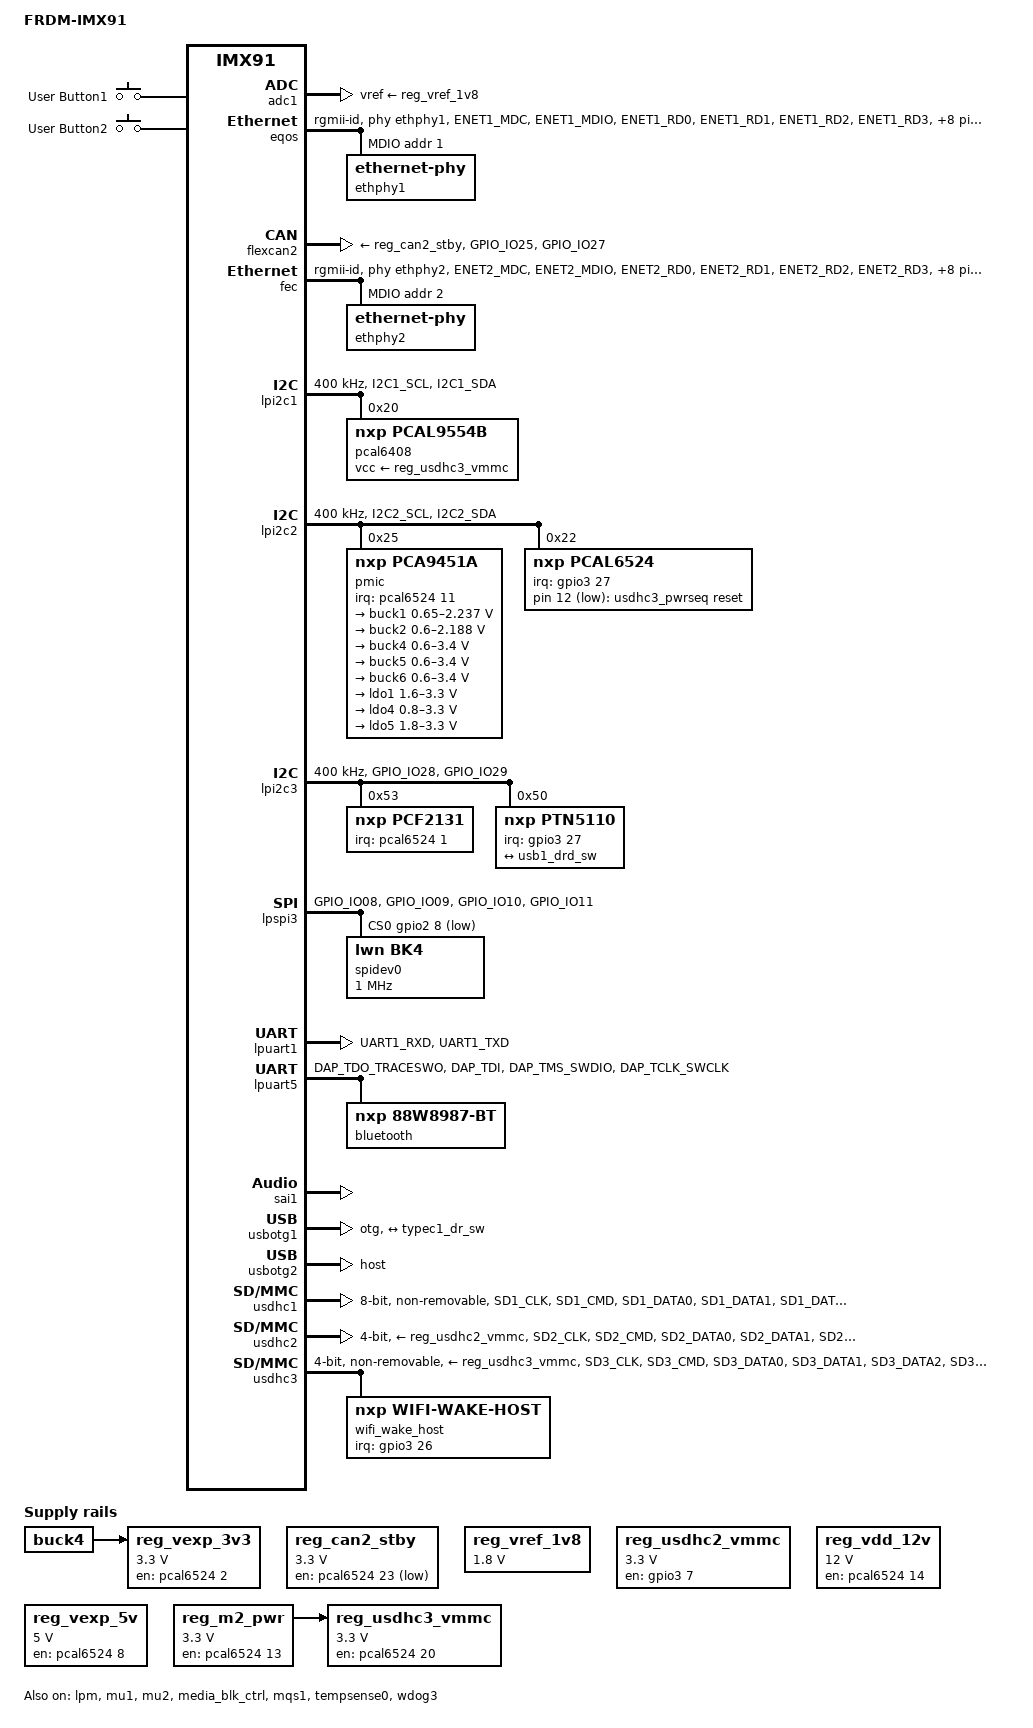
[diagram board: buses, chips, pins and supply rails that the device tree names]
// SPDX-License-Identifier: (GPL-2.0+ OR MIT)
/*
 * Copyright 2025 NXP
 */

/dts-v1/;

#include <dt-bindings/usb/pd.h>
#include "imx91.dtsi"

&ele_fw2 {
	memory-region = <&ele_reserved>;
};

/ {
	model = "FRDM-IMX91";
	compatible = "fsl,frdm-imx91", "fsl,imx91";

	chosen {
		stdout-path = &lpuart1;
	};

	reserved-memory {
		#address-cells = <2>;
		#size-cells = <2>;
		ranges;

		linux,cma {
			compatible = "shared-dma-pool";
			reusable;
			alloc-ranges = <0 0x80000000 0 0x30000000>;
			size = <0 0x10000000>;
			linux,cma-default;
		};

		ele_reserved: ele-reserved@a4120000 {
			compatible = "shared-dma-pool";
			reg = <0 0xa4120000 0 0x100000>;
			no-map;
		};
	};

	reg_can2_stby: regulator-can2-stby {
		compatible = "regulator-fixed";
		regulator-name = "can2-stby";
		regulator-min-microvolt = <3300000>;
		regulator-max-microvolt = <3300000>;
		gpio = <&pcal6524 23 GPIO_ACTIVE_LOW>;
		enable-active-low;
	};

	reg_vref_1v8: regulator-adc-vref {
		compatible = "regulator-fixed";
		regulator-name = "vref_1v8";
		regulator-min-microvolt = <1800000>;
		regulator-max-microvolt = <1800000>;
	};

	reg_usdhc2_vmmc: regulator-usdhc2 {
		compatible = "regulator-fixed";
		pinctrl-names = "default";
		pinctrl-0 = <&pinctrl_reg_usdhc2_vmmc>;
		regulator-name = "VSD_3V3";
		regulator-min-microvolt = <3300000>;
		regulator-max-microvolt = <3300000>;
		gpio = <&gpio3 7 GPIO_ACTIVE_HIGH>;
		off-on-delay-us = <12000>;
		enable-active-high;
	};

	reg_vdd_12v: regulator-vdd-12v {
		compatible = "regulator-fixed";
		regulator-name = "reg_vdd_12v";
		regulator-min-microvolt = <12000000>;
		regulator-max-microvolt = <12000000>;
		gpio = <&pcal6524 14 GPIO_ACTIVE_HIGH>;
		enable-active-high;
	};

	reg_vexp_3v3: regulator-vexp-3v3 {
		compatible = "regulator-fixed";
		regulator-name = "VEXP_3V3";
		gpio = <&pcal6524 2 GPIO_ACTIVE_HIGH>;
		regulator-min-microvolt = <3300000>;
		regulator-max-microvolt = <3300000>;
		enable-active-high;
		vin-supply = <&buck4>;
	};

	reg_vexp_5v: regulator-vexp-5v {
		compatible = "regulator-fixed";
		regulator-name = "VEXP_5V";
		gpio = <&pcal6524 8 GPIO_ACTIVE_HIGH>;
		regulator-min-microvolt = <5000000>;
		regulator-max-microvolt = <5000000>;
		enable-active-high;
	};

	reg_m2_pwr: regulator-m2-pwr {
		compatible = "regulator-fixed";
		regulator-name = "M.2-power";
		regulator-min-microvolt = <3300000>;
		regulator-max-microvolt = <3300000>;
		gpio = <&pcal6524 13 GPIO_ACTIVE_HIGH>;
		enable-active-high;
	};

	reg_usdhc3_vmmc: regulator-usdhc3 {
		compatible = "regulator-fixed";
		regulator-name = "WLAN_EN";
		regulator-min-microvolt = <3300000>;
		regulator-max-microvolt = <3300000>;
		vin-supply = <&reg_m2_pwr>;
		gpio = <&pcal6524 20 GPIO_ACTIVE_HIGH>;
		/*
		 * IW612 wifi chip needs more delay than other wifi chips to complete
		 * the host interface initialization after power up, otherwise the
		 * internal state of IW612 may be unstable, resulting in the failure of
		 * the SDIO3.0 switch voltage.
		 */
		startup-delay-us = <20000>;
		enable-active-high;
	};

	sound-mqs {
		compatible = "fsl,imx6sx-sdb-mqs",
			     "fsl,imx-audio-mqs";
		model = "mqs-audio";
		audio-cpu = <&sai1>;
		audio-codec = <&mqs1>;
	};

	sw-keys {
		compatible = "gpio-keys";

		K2: user_btn1 {
			label = "User Button1";
			linux,code = <BTN_1>;
			gpio = <&pcal6524 5 GPIO_PULL_UP>;
			interrupt-parent = <&pcal6524>;
			interrupts = <5 IRQ_TYPE_EDGE_FALLING>;
		};

		K3: user_btn2 {
			label = "User Button2";
			linux,code = <BTN_2>;
			gpio = <&pcal6524 6 GPIO_PULL_UP>;
			interrupt-parent = <&pcal6524>;
			interrupts = <6 IRQ_TYPE_EDGE_FALLING>;
		};
	};

	usdhc3_pwrseq: usdhc3_pwrseq {
		compatible = "mmc-pwrseq-simple";
		reset-gpios = <&pcal6524 12 GPIO_ACTIVE_LOW>;
	};
};

&adc1 {
	vref-supply = <&reg_vref_1v8>;
	status = "okay";
};

&eqos {
	pinctrl-names = "default", "sleep";
	pinctrl-0 = <&pinctrl_eqos>;
	pinctrl-1 = <&pinctrl_eqos_sleep>;
	phy-mode = "rgmii-id";
	phy-handle = <&ethphy1>;
	status = "okay";

	mdio {
		compatible = "snps,dwmac-mdio";
		#address-cells = <1>;
		#size-cells = <0>;
		clock-frequency = <5000000>;

		ethphy1: ethernet-phy@1 {
			reg = <1>;
		};
	};
};

&flexcan2 {
	pinctrl-names = "default", "sleep";
	pinctrl-0 = <&pinctrl_flexcan2>;
	pinctrl-1 = <&pinctrl_flexcan2_sleep>;
	xceiver-supply = <&reg_can2_stby>;
	status = "okay";
};

&fec {
	pinctrl-names = "default", "sleep";
	pinctrl-0 = <&pinctrl_fec>;
	pinctrl-1 = <&pinctrl_fec_sleep>;
	phy-mode = "rgmii-id";
	phy-handle = <&ethphy2>;
	fsl,magic-packet;
	status = "okay";

	mdio {
		#address-cells = <1>;
		#size-cells = <0>;
		clock-frequency = <5000000>;

		ethphy2: ethernet-phy@2 {
			reg = <2>;
			eee-broken-1000t;
		};
	};
};

/*
 * When add, delete or change any target device setting in &lpi2c1,
 * please synchronize the changes to the &i3c1 bus in imx91-11x11-evk-i3c.dts.
 */
&lpi2c1 {
	clock-frequency = <400000>;
	pinctrl-names = "default";
	pinctrl-0 = <&pinctrl_lpi2c1>;
	status = "okay";

	pcal6408: gpio@20 {
		compatible = "nxp,pcal9554b";
		reg = <0x20>;
		gpio-controller;
		#gpio-cells = <2>;
		vcc-supply = <&reg_usdhc3_vmmc>;
		status = "okay";
	};
};

&lpi2c2 {
	clock-frequency = <400000>;
	pinctrl-names = "default";
	pinctrl-0 = <&pinctrl_lpi2c2>;
	status = "okay";

	pmic@25 {
		compatible = "nxp,pca9451a";
		reg = <0x25>;
		interrupt-parent = <&pcal6524>;
		interrupts = <11 IRQ_TYPE_EDGE_FALLING>;

		regulators {
			buck1: BUCK1 {
				regulator-name = "BUCK1";
				regulator-min-microvolt = <650000>;
				regulator-max-microvolt = <2237500>;
				regulator-boot-on;
				regulator-always-on;
				regulator-ramp-delay = <3125>;
			};

			buck2: BUCK2 {
				regulator-name = "BUCK2";
				regulator-min-microvolt = <600000>;
				regulator-max-microvolt = <2187500>;
				regulator-boot-on;
				regulator-always-on;
				regulator-ramp-delay = <3125>;
			};

			buck4: BUCK4{
				regulator-name = "BUCK4";
				regulator-min-microvolt = <600000>;
				regulator-max-microvolt = <3400000>;
				regulator-boot-on;
				regulator-always-on;
			};

			buck5: BUCK5{
				regulator-name = "BUCK5";
				regulator-min-microvolt = <600000>;
				regulator-max-microvolt = <3400000>;
				regulator-boot-on;
				regulator-always-on;
			};

			buck6: BUCK6 {
				regulator-name = "BUCK6";
				regulator-min-microvolt = <600000>;
				regulator-max-microvolt = <3400000>;
				regulator-boot-on;
				regulator-always-on;
			};

			ldo1: LDO1 {
				regulator-name = "LDO1";
				regulator-min-microvolt = <1600000>;
				regulator-max-microvolt = <3300000>;
				regulator-boot-on;
				regulator-always-on;
			};

			ldo4: LDO4 {
				regulator-name = "LDO4";
				regulator-min-microvolt = <800000>;
				regulator-max-microvolt = <3300000>;
				regulator-boot-on;
				regulator-always-on;
			};

			ldo5: LDO5 {
				regulator-name = "LDO5";
				regulator-min-microvolt = <1800000>;
				regulator-max-microvolt = <3300000>;
				regulator-boot-on;
				regulator-always-on;
			};
		};
	};

	pcal6524: gpio@22 {
		compatible = "nxp,pcal6524";
		pinctrl-names = "default";
		pinctrl-0 = <&pinctrl_pcal6524>;
		reg = <0x22>;
		gpio-controller;
		#gpio-cells = <2>;
		interrupt-controller;
		#interrupt-cells = <2>;
		interrupt-parent = <&gpio3>;
		interrupts = <27 IRQ_TYPE_LEVEL_LOW>;
	};

};

&lpi2c3 {
	clock-frequency = <400000>;
	pinctrl-names = "default";
	pinctrl-0 = <&pinctrl_lpi2c3>;
	status = "okay";

	pcf2131: rtc@53 {
			compatible = "nxp,pcf2131";
			reg = <0x53>;
			interrupt-parent = <&pcal6524>;
			interrupts = <1 IRQ_TYPE_EDGE_FALLING>;
			status = "okay";
	};

	ptn5110: tcpc@50 {
		compatible = "nxp,ptn5110";
		reg = <0x50>;
		interrupt-parent = <&gpio3>;
		interrupts = <27 IRQ_TYPE_LEVEL_LOW>;
		status = "okay";

		port {
			typec1_dr_sw: endpoint {
				remote-endpoint = <&usb1_drd_sw>;
			};
		};

		typec1_con: connector {
			compatible = "usb-c-connector";
			label = "USB-C";
			power-role = "dual";
			data-role = "dual";
			try-power-role = "sink";
			source-pdos = <PDO_FIXED(5000, 3000, PDO_FIXED_USB_COMM)>;
			sink-pdos = <PDO_FIXED(5000, 3000, PDO_FIXED_USB_COMM)
				     PDO_VAR(5000, 20000, 3000)>;
			op-sink-microwatt = <15000000>;
			self-powered;
		};
	};
};

&lpm {
	soc-supply = <&buck1>;
	status = "okay";
};

&lpspi3 {
	fsl,spi-num-chipselects = <1>;
	pinctrl-names = "default", "sleep";
	pinctrl-0 = <&pinctrl_lpspi3>;
	pinctrl-1 = <&pinctrl_lpspi3>;
	cs-gpios = <&gpio2 8 GPIO_ACTIVE_LOW>;
	gpio = <&pcal6408 0 GPIO_ACTIVE_HIGH>;
	status = "okay";

	spidev0: spi@0 {
		reg = <0>;
		compatible = "lwn,bk4";
		spi-max-frequency = <1000000>;
	};
};

&lpuart1 { /* console */
	pinctrl-names = "default";
	pinctrl-0 = <&pinctrl_uart1>;
	status = "okay";
};

&lpuart5 {
	/* BT */
	pinctrl-names = "default";
	pinctrl-0 = <&pinctrl_uart5>;
	gpio = <&pcal6524 19 GPIO_ACTIVE_HIGH>;
	status = "okay";

	bluetooth {
		compatible = "nxp,88w8987-bt";
	};
};

&mu1 {
	status = "okay";
};

&mu2 {
	status = "okay";
};

&media_blk_ctrl {
	status = "okay";
};

&mqs1 {
	pinctrl-names = "default";
	pinctrl-0 = <&pinctrl_mqs1>;
	clocks = <&clk IMX91_CLK_MQS1_GATE>;
	clock-names = "mclk";
	status = "okay";
};

&sai1 {
	#sound-dai-cells = <0>;
	clocks = <&clk IMX91_CLK_SAI1_IPG>, <&clk IMX91_CLK_DUMMY>,
		 <&clk IMX91_CLK_SAI1_GATE>, <&clk IMX91_CLK_DUMMY>,
		 <&clk IMX91_CLK_DUMMY>, <&clk IMX91_CLK_AUDIO_PLL>;
	clock-names = "bus", "mclk0", "mclk1", "mclk2", "mclk3", "pll8k";
	assigned-clocks = <&clk IMX91_CLK_SAI1>;
	assigned-clock-parents = <&clk IMX91_CLK_AUDIO_PLL>;
	assigned-clock-rates = <24576000>;
	fsl,sai-mclk-direction-output;
	status = "okay";
};

&tempsense0 {
	status = "okay";
};

&usbotg1 {
	dr_mode = "otg";
	hnp-disable;
	srp-disable;
	adp-disable;
	usb-role-switch;
	disable-over-current;
	samsung,picophy-pre-emp-curr-control = <3>;
	samsung,picophy-dc-vol-level-adjust = <7>;
	status = "okay";

	port {
		usb1_drd_sw: endpoint {
			remote-endpoint = <&typec1_dr_sw>;
		};
	};
};

&usbotg2 {
	dr_mode = "host";
	disable-over-current;
	samsung,picophy-pre-emp-curr-control = <3>;
	samsung,picophy-dc-vol-level-adjust = <7>;
	status = "okay";
};

&usdhc1 {
	pinctrl-names = "default", "state_100mhz", "state_200mhz";
	pinctrl-0 = <&pinctrl_usdhc1>;
	pinctrl-1 = <&pinctrl_usdhc1_100mhz>;
	pinctrl-2 = <&pinctrl_usdhc1_200mhz>;
	bus-width = <8>;
	non-removable;
	status = "okay";
};

&usdhc2 {
	pinctrl-names = "default", "state_100mhz", "state_200mhz", "sleep";
	pinctrl-0 = <&pinctrl_usdhc2>, <&pinctrl_usdhc2_gpio>;
	pinctrl-1 = <&pinctrl_usdhc2_100mhz>, <&pinctrl_usdhc2_gpio>;
	pinctrl-2 = <&pinctrl_usdhc2_200mhz>, <&pinctrl_usdhc2_gpio>;
	pinctrl-3 = <&pinctrl_usdhc2_sleep>, <&pinctrl_usdhc2_gpio_sleep>;
	cd-gpios = <&gpio3 00 GPIO_ACTIVE_LOW>;
	fsl,cd-gpio-wakeup-disable;
	vmmc-supply = <&reg_usdhc2_vmmc>;
	bus-width = <4>;
	status = "okay";
	no-sdio;
	no-mmc;
};

&usdhc3 {
	pinctrl-names = "default", "state_100mhz", "state_200mhz", "sleep";
	pinctrl-0 = <&pinctrl_usdhc3>, <&pinctrl_usdhc3_wlan>;
	pinctrl-1 = <&pinctrl_usdhc3_100mhz>, <&pinctrl_usdhc3_wlan>;
	pinctrl-2 = <&pinctrl_usdhc3_200mhz>, <&pinctrl_usdhc3_wlan>;
	pinctrl-3 = <&pinctrl_usdhc3_sleep>, <&pinctrl_usdhc3_wlan>;
	mmc-pwrseq = <&usdhc3_pwrseq>;
	vmmc-supply = <&reg_usdhc3_vmmc>;
	bus-width = <4>;
	keep-power-in-suspend;
	non-removable;
	wakeup-source;
	status = "okay";

	wifi_wake_host {
		compatible = "nxp,wifi-wake-host";
		interrupt-parent = <&gpio3>;
		interrupts = <26 IRQ_TYPE_LEVEL_LOW>;
		interrupt-names = "host-wake";
	};
};

&wdog3 {
	status = "okay";
};

&iomuxc {
	pinctrl_eqos: eqosgrp {
		fsl,pins = <
			MX91_PAD_ENET1_MDC__ENET1_MDC				0x57e
			MX91_PAD_ENET1_MDIO__ENET_QOS_MDIO			0x57e
			MX91_PAD_ENET1_RD0__ENET_QOS_RGMII_RD0			0x57e
			MX91_PAD_ENET1_RD1__ENET_QOS_RGMII_RD1			0x57e
			MX91_PAD_ENET1_RD2__ENET_QOS_RGMII_RD2			0x57e
			MX91_PAD_ENET1_RD3__ENET_QOS_RGMII_RD3			0x57e
			MX91_PAD_ENET1_RXC__ENET_QOS_RGMII_RXC			0x5fe
			MX91_PAD_ENET1_RX_CTL__ENET_QOS_RGMII_RX_CTL		0x57e
			MX91_PAD_ENET1_TD0__ENET_QOS_RGMII_TD0			0x57e
			MX91_PAD_ENET1_TD1__ENET1_RGMII_TD1			0x57e
			MX91_PAD_ENET1_TD2__ENET_QOS_RGMII_TD2			0x57e
			MX91_PAD_ENET1_TD3__ENET_QOS_RGMII_TD3			0x57e
			MX91_PAD_ENET1_TXC__CCM_ENET_QOS_CLOCK_GENERATE_TX_CLK	0x5fe
			MX91_PAD_ENET1_TX_CTL__ENET_QOS_RGMII_TX_CTL		0x57e
		>;
	};

	pinctrl_eqos_sleep: eqosgrpsleep {
		fsl,pins = <
			MX91_PAD_ENET1_MDC__GPIO4_IO0				0x31e
			MX91_PAD_ENET1_MDIO__GPIO4_IO1				0x31e
			MX91_PAD_ENET1_RD0__GPIO4_IO10				0x31e
			MX91_PAD_ENET1_RD1__GPIO4_IO11				0x31e
			MX91_PAD_ENET1_RD2__GPIO4_IO12				0x31e
			MX91_PAD_ENET1_RD3__GPIO4_IO13				0x31e
			MX91_PAD_ENET1_RXC__GPIO4_IO9				0x31e
			MX91_PAD_ENET1_RX_CTL__GPIO4_IO8			0x31e
			MX91_PAD_ENET1_TD0__GPIO4_IO5				0x31e
			MX91_PAD_ENET1_TD1__GPIO4_IO4				0x31e
			MX91_PAD_ENET1_TD2__GPIO4_IO3				0x31e
			MX91_PAD_ENET1_TD3__GPIO4_IO2				0x31e
			MX91_PAD_ENET1_TXC__GPIO4_IO7				0x31e
			MX91_PAD_ENET1_TX_CTL__GPIO4_IO6			0x31e
		>;
	};

	pinctrl_fec: fecgrp {
		fsl,pins = <
			MX91_PAD_ENET2_MDC__ENET2_MDC			0x57e
			MX91_PAD_ENET2_MDIO__ENET2_MDIO			0x57e
			MX91_PAD_ENET2_RD0__ENET2_RGMII_RD0		0x57e
			MX91_PAD_ENET2_RD1__ENET2_RGMII_RD1		0x57e
			MX91_PAD_ENET2_RD2__ENET2_RGMII_RD2		0x57e
			MX91_PAD_ENET2_RD3__ENET2_RGMII_RD3		0x57e
			MX91_PAD_ENET2_RXC__ENET2_RGMII_RXC		0x5fe
			MX91_PAD_ENET2_RX_CTL__ENET2_RGMII_RX_CTL	0x57e
			MX91_PAD_ENET2_TD0__ENET2_RGMII_TD0		0x57e
			MX91_PAD_ENET2_TD1__ENET2_RGMII_TD1		0x57e
			MX91_PAD_ENET2_TD2__ENET2_RGMII_TD2		0x57e
			MX91_PAD_ENET2_TD3__ENET2_RGMII_TD3		0x57e
			MX91_PAD_ENET2_TXC__ENET2_RGMII_TXC		0x5fe
			MX91_PAD_ENET2_TX_CTL__ENET2_RGMII_TX_CTL	0x57e
		>;
	};

	pinctrl_fec_sleep: fecsleepgrp {
		fsl,pins = <
			MX91_PAD_ENET2_MDC__GPIO4_IO14			0x51e
			MX91_PAD_ENET2_MDIO__GPIO4_IO15			0x51e
			MX91_PAD_ENET2_RD0__GPIO4_IO24			0x51e
			MX91_PAD_ENET2_RD1__GPIO4_IO25			0x51e
			MX91_PAD_ENET2_RD2__GPIO4_IO26			0x51e
			MX91_PAD_ENET2_RD3__GPIO4_IO27			0x51e
			MX91_PAD_ENET2_RXC__GPIO4_IO23			0x51e
			MX91_PAD_ENET2_RX_CTL__GPIO4_IO22		0x51e
			MX91_PAD_ENET2_TD0__GPIO4_IO19			0x51e
			MX91_PAD_ENET2_TD1__GPIO4_IO18			0x51e
			MX91_PAD_ENET2_TD2__GPIO4_IO17			0x51e
			MX91_PAD_ENET2_TD3__GPIO4_IO16			0x51e
			MX91_PAD_ENET2_TXC__GPIO4_IO21			0x51e
			MX91_PAD_ENET2_TX_CTL__GPIO4_IO20		0x51e
		>;
	};

	pinctrl_flexcan2: flexcan2grp {
		fsl,pins = <
			MX91_PAD_GPIO_IO25__CAN2_TX	0x139e
			MX91_PAD_GPIO_IO27__CAN2_RX	0x139e
		>;
	};
	pinctrl_flexcan2_sleep: flexcan2sleepgrp {
		fsl,pins = <
			MX91_PAD_GPIO_IO25__GPIO2_IO25	0x31e
			MX91_PAD_GPIO_IO27__GPIO2_IO27	0x31e
		>;
	};

	pinctrl_lpi2c1: lpi2c1grp {
		fsl,pins = <
			MX91_PAD_I2C1_SCL__LPI2C1_SCL			0x40000b9e
			MX91_PAD_I2C1_SDA__LPI2C1_SDA			0x40000b9e
		>;
	};

	pinctrl_lpi2c2: lpi2c2grp {
		fsl,pins = <
			MX91_PAD_I2C2_SCL__LPI2C2_SCL			0x40000b9e
			MX91_PAD_I2C2_SDA__LPI2C2_SDA			0x40000b9e
		>;
	};

	pinctrl_lpi2c3: lpi2c3grp {
		fsl,pins = <
			MX91_PAD_GPIO_IO28__LPI2C3_SDA			0x40000b9e
			MX91_PAD_GPIO_IO29__LPI2C3_SCL			0x40000b9e
		>;
	};

	pinctrl_mqs1: mqs1grp {
		fsl,pins = <
			MX91_PAD_PDM_CLK__MQS1_LEFT			0x31e
			MX91_PAD_PDM_BIT_STREAM0__MQS1_RIGHT		0x31e
		>;
	};

	pinctrl_pcal6524: pcal6524grp {
		fsl,pins = <
			MX91_PAD_CCM_CLKO2__GPIO3_IO27			0x31e
		>;
	};

	pinctrl_uart1: uart1grp {
		fsl,pins = <
			MX91_PAD_UART1_RXD__LPUART1_RX			0x31e
			MX91_PAD_UART1_TXD__LPUART1_TX			0x31e
		>;
	};

	pinctrl_uart5: uart5grp {
		fsl,pins = <
			MX91_PAD_DAP_TDO_TRACESWO__LPUART5_TX	0x31e
			MX91_PAD_DAP_TDI__LPUART5_RX		0x31e
			MX91_PAD_DAP_TMS_SWDIO__LPUART5_RTS_B	0x31e
			MX91_PAD_DAP_TCLK_SWCLK__LPUART5_CTS_B	0x31e
		>;
	};

	pinctrl_usdhc1: usdhc1grp {
		fsl,pins = <
			MX91_PAD_SD1_CLK__USDHC1_CLK		0x1582
			MX91_PAD_SD1_CMD__USDHC1_CMD		0x1382
			MX91_PAD_SD1_DATA0__USDHC1_DATA0	0x1382
			MX91_PAD_SD1_DATA1__USDHC1_DATA1	0x1382
			MX91_PAD_SD1_DATA2__USDHC1_DATA2	0x1382
			MX91_PAD_SD1_DATA3__USDHC1_DATA3	0x1382
			MX91_PAD_SD1_DATA4__USDHC1_DATA4	0x1382
			MX91_PAD_SD1_DATA5__USDHC1_DATA5	0x1382
			MX91_PAD_SD1_DATA6__USDHC1_DATA6	0x1382
			MX91_PAD_SD1_DATA7__USDHC1_DATA7	0x1382
			MX91_PAD_SD1_STROBE__USDHC1_STROBE	0x1582
		>;
	};

	pinctrl_usdhc1_100mhz: usdhc1-100mhzgrp {
		fsl,pins = <
			MX91_PAD_SD1_CLK__USDHC1_CLK		0x158e
			MX91_PAD_SD1_CMD__USDHC1_CMD		0x138e
			MX91_PAD_SD1_DATA0__USDHC1_DATA0	0x138e
			MX91_PAD_SD1_DATA1__USDHC1_DATA1	0x138e
			MX91_PAD_SD1_DATA2__USDHC1_DATA2	0x138e
			MX91_PAD_SD1_DATA3__USDHC1_DATA3	0x138e
			MX91_PAD_SD1_DATA4__USDHC1_DATA4	0x138e
			MX91_PAD_SD1_DATA5__USDHC1_DATA5	0x138e
			MX91_PAD_SD1_DATA6__USDHC1_DATA6	0x138e
			MX91_PAD_SD1_DATA7__USDHC1_DATA7	0x138e
			MX91_PAD_SD1_STROBE__USDHC1_STROBE	0x158e
		>;
	};

	pinctrl_usdhc1_200mhz: usdhc1-200mhzgrp {
		fsl,pins = <
			MX91_PAD_SD1_CLK__USDHC1_CLK		0x15fe
			MX91_PAD_SD1_CMD__USDHC1_CMD		0x13fe
			MX91_PAD_SD1_DATA0__USDHC1_DATA0	0x13fe
			MX91_PAD_SD1_DATA1__USDHC1_DATA1	0x13fe
			MX91_PAD_SD1_DATA2__USDHC1_DATA2	0x13fe
			MX91_PAD_SD1_DATA3__USDHC1_DATA3	0x13fe
			MX91_PAD_SD1_DATA4__USDHC1_DATA4	0x13fe
			MX91_PAD_SD1_DATA5__USDHC1_DATA5	0x13fe
			MX91_PAD_SD1_DATA6__USDHC1_DATA6	0x13fe
			MX91_PAD_SD1_DATA7__USDHC1_DATA7	0x13fe
			MX91_PAD_SD1_STROBE__USDHC1_STROBE	0x15fe
		>;
	};

	pinctrl_reg_usdhc2_vmmc: regusdhc2vmmcgrp {
		fsl,pins = <
			MX91_PAD_SD2_RESET_B__GPIO3_IO7		0x31e
		>;
	};

	pinctrl_usdhc2_gpio: usdhc2gpiogrp {
		fsl,pins = <
			MX91_PAD_SD2_CD_B__GPIO3_IO0		0x31e
		>;
	};

	pinctrl_usdhc2_gpio_sleep: usdhc2gpiogrpsleep {
		fsl,pins = <
			MX91_PAD_SD2_CD_B__GPIO3_IO0		0x51e
		>;
	};

	pinctrl_usdhc2: usdhc2grp {
		fsl,pins = <
			MX91_PAD_SD2_CLK__USDHC2_CLK		0x1582
			MX91_PAD_SD2_CMD__USDHC2_CMD		0x1382
			MX91_PAD_SD2_DATA0__USDHC2_DATA0	0x1382
			MX91_PAD_SD2_DATA1__USDHC2_DATA1	0x1382
			MX91_PAD_SD2_DATA2__USDHC2_DATA2	0x1382
			MX91_PAD_SD2_DATA3__USDHC2_DATA3	0x1382
			MX91_PAD_SD2_VSELECT__USDHC2_VSELECT	0x51e
		>;
	};

	pinctrl_usdhc2_100mhz: usdhc2-100mhzgrp {
		fsl,pins = <
			MX91_PAD_SD2_CLK__USDHC2_CLK		0x158e
			MX91_PAD_SD2_CMD__USDHC2_CMD		0x138e
			MX91_PAD_SD2_DATA0__USDHC2_DATA0	0x138e
			MX91_PAD_SD2_DATA1__USDHC2_DATA1	0x138e
			MX91_PAD_SD2_DATA2__USDHC2_DATA2	0x138e
			MX91_PAD_SD2_DATA3__USDHC2_DATA3	0x138e
			MX91_PAD_SD2_VSELECT__USDHC2_VSELECT	0x51e
		>;
	};

	pinctrl_usdhc2_200mhz: usdhc2-200mhzgrp {
		fsl,pins = <
			MX91_PAD_SD2_CLK__USDHC2_CLK		0x15fe
			MX91_PAD_SD2_CMD__USDHC2_CMD		0x13fe
			MX91_PAD_SD2_DATA0__USDHC2_DATA0	0x13fe
			MX91_PAD_SD2_DATA1__USDHC2_DATA1	0x13fe
			MX91_PAD_SD2_DATA2__USDHC2_DATA2	0x13fe
			MX91_PAD_SD2_DATA3__USDHC2_DATA3	0x13fe
			MX91_PAD_SD2_VSELECT__USDHC2_VSELECT	0x51e
		>;
	};

	pinctrl_usdhc2_sleep: usdhc2grpsleep {
		fsl,pins = <
			MX91_PAD_SD2_CLK__GPIO3_IO1		0x51e
			MX91_PAD_SD2_CMD__GPIO3_IO2		0x51e
			MX91_PAD_SD2_DATA0__GPIO3_IO3		0x51e
			MX91_PAD_SD2_DATA1__GPIO3_IO4		0x51e
			MX91_PAD_SD2_DATA2__GPIO3_IO5		0x51e
			MX91_PAD_SD2_DATA3__GPIO3_IO6		0x51e
			MX91_PAD_SD2_VSELECT__GPIO3_IO19	0x51e
		>;
	};

	pinctrl_usdhc3: usdhc3grp {
		fsl,pins = <
			MX91_PAD_SD3_CLK__USDHC3_CLK		0x1582
			MX91_PAD_SD3_CMD__USDHC3_CMD		0x1382
			MX91_PAD_SD3_DATA0__USDHC3_DATA0	0x1382
			MX91_PAD_SD3_DATA1__USDHC3_DATA1	0x1382
			MX91_PAD_SD3_DATA2__USDHC3_DATA2	0x1382
			MX91_PAD_SD3_DATA3__USDHC3_DATA3	0x1382
		>;
	};

	pinctrl_usdhc3_100mhz: usdhc3-100mhzgrp {
		fsl,pins = <
			MX91_PAD_SD3_CLK__USDHC3_CLK		0x158e
			MX91_PAD_SD3_CMD__USDHC3_CMD		0x138e
			MX91_PAD_SD3_DATA0__USDHC3_DATA0	0x138e
			MX91_PAD_SD3_DATA1__USDHC3_DATA1	0x138e
			MX91_PAD_SD3_DATA2__USDHC3_DATA2	0x138e
			MX91_PAD_SD3_DATA3__USDHC3_DATA3	0x138e
		>;
	};

	pinctrl_usdhc3_200mhz: usdhc3-200mhzgrp {
		fsl,pins = <
			MX91_PAD_SD3_CLK__USDHC3_CLK		0x15fe
			MX91_PAD_SD3_CMD__USDHC3_CMD		0x13fe
			MX91_PAD_SD3_DATA0__USDHC3_DATA0	0x13fe
			MX91_PAD_SD3_DATA1__USDHC3_DATA1	0x13fe
			MX91_PAD_SD3_DATA2__USDHC3_DATA2	0x13fe
			MX91_PAD_SD3_DATA3__USDHC3_DATA3	0x13fe
		>;
	};

	pinctrl_usdhc3_sleep: usdhc3grpsleep {
		fsl,pins = <
			MX91_PAD_SD3_CLK__GPIO3_IO20		0x31e
			MX91_PAD_SD3_CMD__GPIO3_IO21		0x31e
			MX91_PAD_SD3_DATA0__GPIO3_IO22		0x31e
			MX91_PAD_SD3_DATA1__GPIO3_IO23		0x31e
			MX91_PAD_SD3_DATA2__GPIO3_IO24		0x31e
			MX91_PAD_SD3_DATA3__GPIO3_IO25		0x31e
		>;
	};

	pinctrl_usdhc3_wlan: usdhc3wlangrp {
		fsl,pins = <
			MX91_PAD_CCM_CLKO1__GPIO3_IO26		0x31e
		>;
	};

	pinctrl_lpspi3: lpspi3grp {
		fsl,pins = <
			MX91_PAD_GPIO_IO08__GPIO2_IO8		0x3fe
			MX91_PAD_GPIO_IO09__LPSPI3_SIN		0x3fe
			MX91_PAD_GPIO_IO10__LPSPI3_SOUT		0x3fe
			MX91_PAD_GPIO_IO11__LPSPI3_SCK		0x3fe
		>;
	};
};
